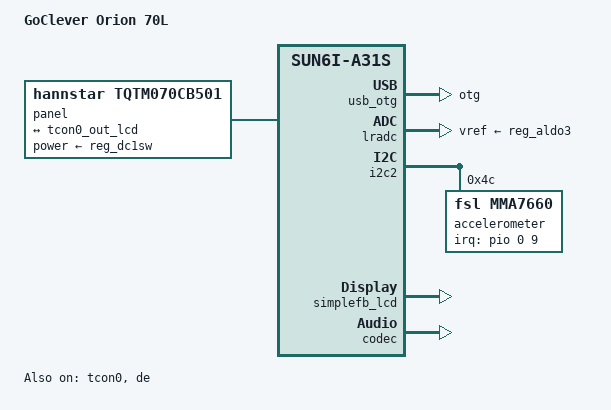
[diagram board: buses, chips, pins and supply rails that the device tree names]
// SPDX-License-Identifier: (GPL-2.0+ OR X11)
// Copyright 2021 Jacek Pruciak <linux@juniorjpdj.pl>

/dts-v1/;
#include "sun6i-a31s.dtsi"
#include "sun6i-reference-design-tablet.dtsi"
//#include <dt-bindings/pwm/pwm.h>

/ {
	model = "GoClever Orion 70L";
	compatible = "goclever,gcta741l", "allwinner,sun6i-a31s";
	
	panel {
		compatible = "hannstar,tqtm070cb501";
		power-supply = <&reg_dc1sw>;
		//backlight = <&backlight>;

		port {
			panel_input: endpoint {
				remote-endpoint = <&tcon0_out_lcd>;
			};
		};
	};
	
	// PWM not supported by sun6i at the moment
	//backlight {
	//	compatible = "pwm-backlight";
	//	pwms = <&pwm 0 50000 PWM_POLARITY_INVERTED>;
	//	brightness-levels = <0 10 20 30 40 50 60 70 80 90 100>;
	//	default-brightness-level = <8>;
	//	enable-gpios = <&pio 0 25 GPIO_ACTIVE_HIGH>; /* PA25 */
	//};
};

&usb_otg {
	dr_mode = "otg";
};

&battery_power_supply {
	status = "okay";
};

&lradc {
	vref-supply = <&reg_aldo3>;
	status = "okay";

	button-1000 {
		label = "Home";
		linux,code = <KEY_HOMEPAGE>;
		channel = <0>;
		voltage = <1000000>;
	};
};

&i2c2 {
	status = "okay";

	accelerometer@4c {
		compatible = "fsl,mma7660";
		reg = <0x4c>;
		interrupt-parent = <&pio>;
		interrupts = <0 9 IRQ_TYPE_LEVEL_HIGH>; /* PA9 */

		mount-matrix =	"0", "1", "0",
						"1", "0", "0",
						"0", "0", "1";
	};
};

&tcon0 {
	pinctrl-names = "default";
	pinctrl-0 = <&lcd0_rgb888_pins>;
	status = "okay";
};

&tcon0_out {
	tcon0_out_lcd: endpoint@0 {
		reg = <0>;
		remote-endpoint = <&panel_input>;
	};
};

&de {
	status = "okay";
};

&simplefb_lcd {
	status = "okay";
};

&codec {
	// This still doesn't work
	allwinner,audio-routing =
		/* sink, source */
		"Headphone", "HP",
		"Speaker", "LINEOUT",
		"MIC1", "Mic",
		"MIC2", "Headset Mic",
		"Mic",	"MBIAS",
		"Headset Mic", "HBIAS";
	allwinner,pa-gpios = <&r_pio 0 4 GPIO_ACTIVE_HIGH>; /* PL4 */
	status = "okay";
};
